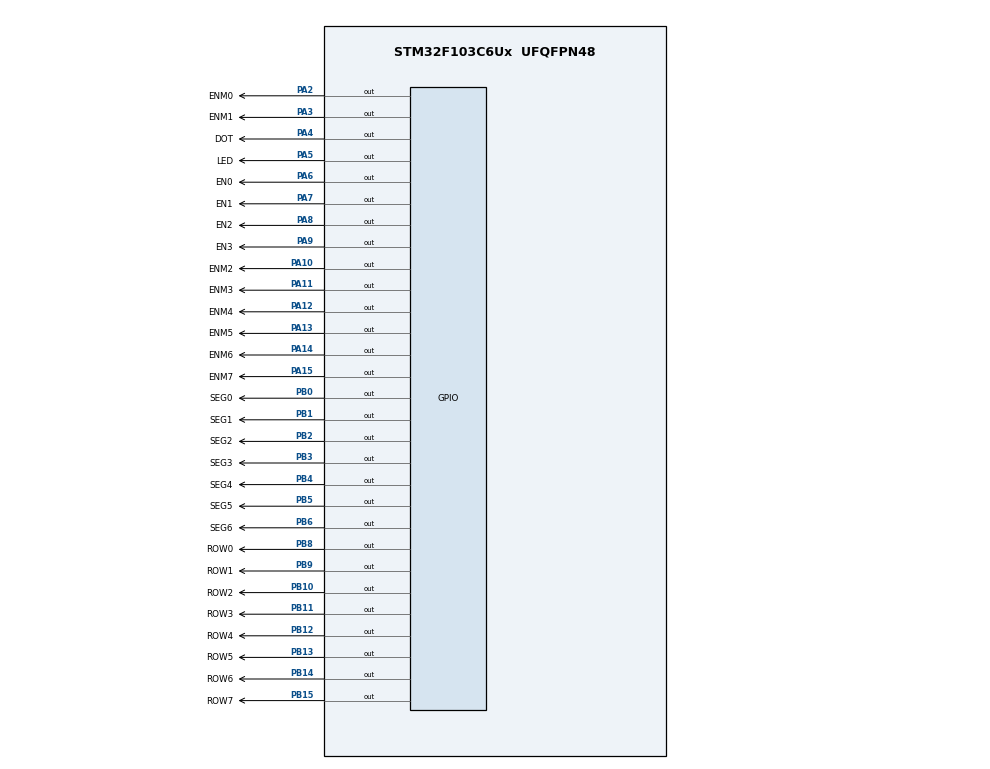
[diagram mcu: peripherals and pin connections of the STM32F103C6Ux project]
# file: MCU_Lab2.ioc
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Mcu.Family=STM32F1
Mcu.Name=STM32F103C6Ux
Mcu.Package=UFQFPN48
NVIC.PriorityGroup=NVIC_PRIORITYGROUP_4
NVIC.TIM2_IRQn=true\:0\:0\:false\:false\:true\:true\:true\:true
PA10.GPIO_Label=ENM2
PA10.Signal=GPIO_Output
PA11.GPIO_Label=ENM3
PA11.Signal=GPIO_Output
PA12.GPIO_Label=ENM4
PA12.Signal=GPIO_Output
PA13.GPIO_Label=ENM5
PA13.Signal=GPIO_Output
PA14.GPIO_Label=ENM6
PA14.Signal=GPIO_Output
PA15.GPIO_Label=ENM7
PA15.Signal=GPIO_Output
PA2.GPIO_Label=ENM0
PA2.Signal=GPIO_Output
PA3.GPIO_Label=ENM1
PA3.Signal=GPIO_Output
PA4.GPIO_Label=DOT
PA4.Signal=GPIO_Output
PA5.GPIO_Label=LED
PA5.Signal=GPIO_Output
PA6.GPIO_Label=EN0
PA6.Signal=GPIO_Output
PA7.GPIO_Label=EN1
PA7.Signal=GPIO_Output
PA8.GPIO_Label=EN2
PA8.Signal=GPIO_Output
PA9.GPIO_Label=EN3
PA9.Signal=GPIO_Output
PB0.GPIO_Label=SEG0
PB0.Signal=GPIO_Output
PB1.GPIO_Label=SEG1
PB1.Signal=GPIO_Output
PB10.GPIO_Label=ROW2
PB10.Signal=GPIO_Output
PB11.GPIO_Label=ROW3
PB11.Signal=GPIO_Output
PB12.GPIO_Label=ROW4
PB12.Signal=GPIO_Output
PB13.GPIO_Label=ROW5
PB13.Signal=GPIO_Output
PB14.GPIO_Label=ROW6
PB14.Signal=GPIO_Output
PB15.GPIO_Label=ROW7
PB15.Signal=GPIO_Output
PB2.GPIO_Label=SEG2
PB2.Signal=GPIO_Output
PB3.GPIO_Label=SEG3
PB3.Signal=GPIO_Output
PB4.GPIO_Label=SEG4
PB4.Signal=GPIO_Output
PB5.GPIO_Label=SEG5
PB5.Signal=GPIO_Output
PB6.GPIO_Label=SEG6
PB6.Signal=GPIO_Output
PB8.GPIO_Label=ROW0
PB8.Signal=GPIO_Output
PB9.GPIO_Label=ROW1
PB9.Signal=GPIO_Output
ProjectManager.HeapSize=0x200
ProjectManager.StackSize=0x400
ProjectManager.TargetToolchain=STM32CubeIDE
RCC.APB1Freq_Value=8000000
RCC.APB2Freq_Value=8000000
TIM2.Period=9
TIM2.Prescaler=7999
VP_SYS_VS_ND.Mode=No_Debug
VP_TIM2_VS_ClockSourceINT.Mode=Internal
board=custom

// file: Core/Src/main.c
/* USER CODE BEGIN Header */
/**
  ******************************************************************************
  * @file           : main.c
  * @brief          : Main program body
  ******************************************************************************
  * @attention
  *
  * Copyright (c) 2023 STMicroelectronics.
  * All rights reserved.
  *
  * This software is licensed under terms that can be found in the LICENSE file
  * in the root directory of this software component.
  * If no LICENSE file comes with this software, it is provided AS-IS.
  *
  ******************************************************************************
  */
/* USER CODE END Header */
#include "main.h"

TIM_HandleTypeDef htim2;

void SystemClock_Config(void);
static void MX_GPIO_Init(void);
static void MX_TIM2_Init(void);

int main(void)
{

  /* MCU Configuration--------------------------------------------------------*/

  /* Reset of all peripherals, Initializes the Flash interface and the Systick. */
  HAL_Init();

  /* Configure the system clock */
  SystemClock_Config();

  /* Initialize all configured peripherals */
  MX_GPIO_Init();
  MX_TIM2_Init();
  /* USER CODE BEGIN 2 */
  HAL_TIM_Base_Start_IT(&htim2 );
  /* USER CODE END 2 */

  /* Infinite loop */
  /* USER CODE BEGIN WHILE */
  initTimer(1000);
  void shiftLeftMatrix() {
      for (int i = 0; i < MAX_LED_MATRIX; i++) {
		if (matrix_buffer[i] & 1) {
			matrix_buffer[i] >>=1;
			matrix_buffer[i] |= 0x80;
		}
		else matrix_buffer[i] >>=1;
      }
  }
  int hour = 15 , minute = 8 , second = 50;
	void updateClockBuffer(){
	  led_buffer[0] = hour/10;
	  led_buffer[1] = hour%10;
	  led_buffer[2] = minute/10;
	  led_buffer[3] = minute%10;
	}
  while (1)
  {
	  if(timer_flag[0]){
		  setTimer(50,0);
		  ledMatrixRun();
	  }
	  if(timer_flag[1]){
		  setTimer(250,1);
		  led7Run();
	  }
	  if(timer_flag[2]){
		  setTimer(1000,2);
		  HAL_GPIO_TogglePin(DOT_GPIO_Port, DOT_Pin);
		  HAL_GPIO_TogglePin(LED_GPIO_Port, LED_Pin);
		  shiftLeftMatrix();
		  second++;
		  if(second>=60){
			  second = 0;
			  minute++;
		  }
		  if ( minute >= 60) {
			  minute = 0;
			  hour ++;
		  }
		  if ( hour >=24) {
			  hour = 0;
		  }
		  updateClockBuffer();
	  }
    /* USER CODE END WHILE */

  }
}

void SystemClock_Config(void)
{
  RCC_OscInitTypeDef RCC_OscInitStruct = {0};
  RCC_ClkInitTypeDef RCC_ClkInitStruct = {0};

  /** Initializes the RCC Oscillators according to the specified parameters
  * in the RCC_OscInitTypeDef structure.
  */
  RCC_OscInitStruct.OscillatorType = RCC_OSCILLATORTYPE_HSI;
  RCC_OscInitStruct.HSIState = RCC_HSI_ON;
  RCC_OscInitStruct.HSICalibrationValue = RCC_HSICALIBRATION_DEFAULT;
  RCC_OscInitStruct.PLL.PLLState = RCC_PLL_NONE;
  if (HAL_RCC_OscConfig(&RCC_OscInitStruct) != HAL_OK)
  {
    Error_Handler();
  }

  /** Initializes the CPU, AHB and APB buses clocks
  */
  RCC_ClkInitStruct.ClockType = RCC_CLOCKTYPE_HCLK|RCC_CLOCKTYPE_SYSCLK
                              |RCC_CLOCKTYPE_PCLK1|RCC_CLOCKTYPE_PCLK2;
  RCC_ClkInitStruct.SYSCLKSource = RCC_SYSCLKSOURCE_HSI;
  RCC_ClkInitStruct.AHBCLKDivider = RCC_SYSCLK_DIV1;
  RCC_ClkInitStruct.APB1CLKDivider = RCC_HCLK_DIV1;
  RCC_ClkInitStruct.APB2CLKDivider = RCC_HCLK_DIV1;

  if (HAL_RCC_ClockConfig(&RCC_ClkInitStruct, FLASH_LATENCY_0) != HAL_OK)
  {
    Error_Handler();
  }
}

static void MX_TIM2_Init(void)
{

  TIM_ClockConfigTypeDef sClockSourceConfig = {0};
  TIM_MasterConfigTypeDef sMasterConfig = {0};

  htim2.Instance = TIM2;
  htim2.Init.Prescaler = 7999;
  htim2.Init.CounterMode = TIM_COUNTERMODE_UP;
  htim2.Init.Period = 9;
  htim2.Init.ClockDivision = TIM_CLOCKDIVISION_DIV1;
  htim2.Init.AutoReloadPreload = TIM_AUTORELOAD_PRELOAD_DISABLE;
  if (HAL_TIM_Base_Init(&htim2) != HAL_OK)
  {
    Error_Handler();
  }
  sClockSourceConfig.ClockSource = TIM_CLOCKSOURCE_INTERNAL;
  if (HAL_TIM_ConfigClockSource(&htim2, &sClockSourceConfig) != HAL_OK)
  {
    Error_Handler();
  }
  sMasterConfig.MasterOutputTrigger = TIM_TRGO_RESET;
  sMasterConfig.MasterSlaveMode = TIM_MASTERSLAVEMODE_DISABLE;
  if (HAL_TIMEx_MasterConfigSynchronization(&htim2, &sMasterConfig) != HAL_OK)
  {
    Error_Handler();
  }

}

static void MX_GPIO_Init(void)
{
  GPIO_InitTypeDef GPIO_InitStruct = {0};

  /* GPIO Ports Clock Enable */
  __HAL_RCC_GPIOA_CLK_ENABLE();
  __HAL_RCC_GPIOB_CLK_ENABLE();

  /*Configure GPIO pin Output Level */
  HAL_GPIO_WritePin(GPIOA, ENM0_Pin|ENM1_Pin|DOT_Pin|LED_Pin
                          |EN0_Pin|EN1_Pin|EN2_Pin|EN3_Pin
                          |ENM2_Pin|ENM3_Pin|ENM4_Pin|ENM5_Pin
                          |ENM6_Pin|ENM7_Pin, GPIO_PIN_RESET);

  /*Configure GPIO pin Output Level */
  HAL_GPIO_WritePin(GPIOB, SEG0_Pin|SEG1_Pin|SEG2_Pin|ROW2_Pin
                          |ROW3_Pin|ROW4_Pin|ROW5_Pin|ROW6_Pin
                          |ROW7_Pin|SEG3_Pin|SEG4_Pin|SEG5_Pin
                          |SEG6_Pin|ROW0_Pin|ROW1_Pin, GPIO_PIN_RESET);

  /*Configure GPIO pins : ENM0_Pin ENM1_Pin DOT_Pin LED_Pin
                           EN0_Pin EN1_Pin EN2_Pin EN3_Pin
                           ENM2_Pin ENM3_Pin ENM4_Pin ENM5_Pin
                           ENM6_Pin ENM7_Pin */
  GPIO_InitStruct.Pin = ENM0_Pin|ENM1_Pin|DOT_Pin|LED_Pin
                          |EN0_Pin|EN1_Pin|EN2_Pin|EN3_Pin
                          |ENM2_Pin|ENM3_Pin|ENM4_Pin|ENM5_Pin
                          |ENM6_Pin|ENM7_Pin;
  GPIO_InitStruct.Mode = GPIO_MODE_OUTPUT_PP;
  GPIO_InitStruct.Pull = GPIO_NOPULL;
  GPIO_InitStruct.Speed = GPIO_SPEED_FREQ_LOW;
  HAL_GPIO_Init(GPIOA, &GPIO_InitStruct);

  /*Configure GPIO pins : SEG0_Pin SEG1_Pin SEG2_Pin ROW2_Pin
                           ROW3_Pin ROW4_Pin ROW5_Pin ROW6_Pin
                           ROW7_Pin SEG3_Pin SEG4_Pin SEG5_Pin
                           SEG6_Pin ROW0_Pin ROW1_Pin */
  GPIO_InitStruct.Pin = SEG0_Pin|SEG1_Pin|SEG2_Pin|ROW2_Pin
                          |ROW3_Pin|ROW4_Pin|ROW5_Pin|ROW6_Pin
                          |ROW7_Pin|SEG3_Pin|SEG4_Pin|SEG5_Pin
                          |SEG6_Pin|ROW0_Pin|ROW1_Pin;
  GPIO_InitStruct.Mode = GPIO_MODE_OUTPUT_PP;
  GPIO_InitStruct.Pull = GPIO_NOPULL;
  GPIO_InitStruct.Speed = GPIO_SPEED_FREQ_LOW;
  HAL_GPIO_Init(GPIOB, &GPIO_InitStruct);

}

/* USER CODE BEGIN 4 */
void HAL_TIM_PeriodElapsedCallback ( TIM_HandleTypeDef * htim ){
	timerRun();
}
/* USER CODE END 4 */

void Error_Handler(void)
{
  __disable_irq();
  while (1)
  {
  }
}
